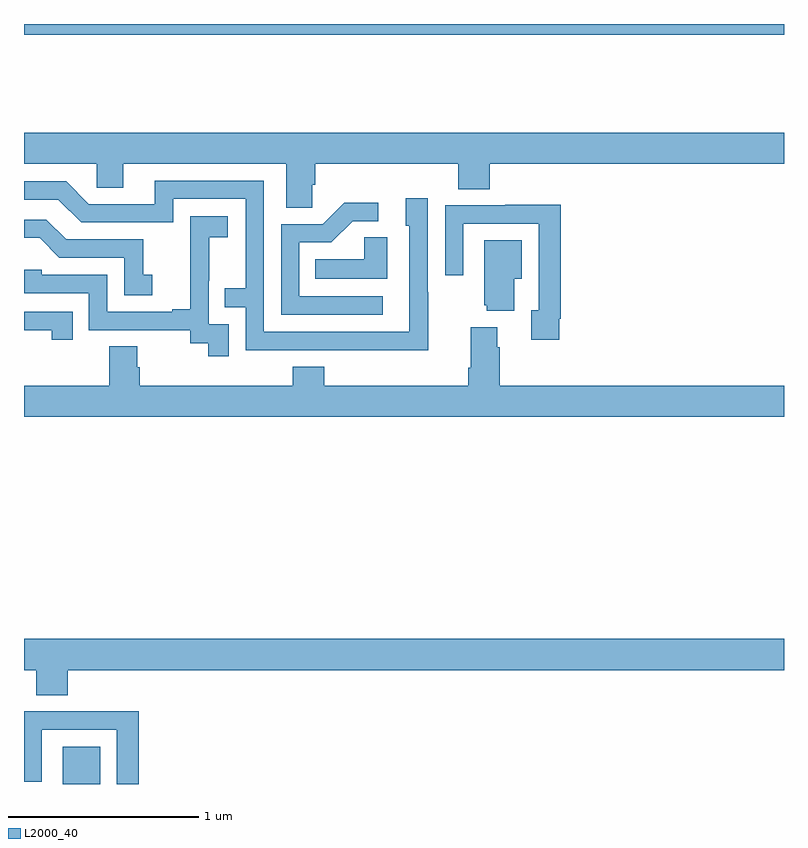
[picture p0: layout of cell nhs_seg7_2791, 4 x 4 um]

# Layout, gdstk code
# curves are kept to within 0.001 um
import gdstk
lib = gdstk.Library(unit=1e-6, precision=1e-09)
def R(c, l, rs):  # rectangles x0, y0, x1, y1
    for r in rs: c.add(gdstk.rectangle(r[:2], r[2:], *l))
def P(c, l, *ps):  # polygons
    for p in ps: c.add(gdstk.Polygon(p, *l))
L2000_40 = (2000, 40)

nhs_seg7_2791 = lib.new_cell('nhs_seg7_2791')
R(nhs_seg7_2791, L2000_40, [(291.203,1016,291.4,1016.197), (291,1019.944,295,1020)])
P(nhs_seg7_2791, L2000_40, [(292.518,1019.155),(292.532,1019.155),(292.532,1019.264),(293.285,1019.264),(293.285,1019.131),(293.45,1019.131),(293.45,1019.264),(295,1019.264),(295,1019.428),(291,1019.428),(291,1019.264),(291.384,1019.264),(291.384,1019.137),(291.523,1019.137),(291.523,1019.264),(292.379,1019.264),(292.379,1019.032),(292.518,1019.032)],
  [(293.127,1018.589),(293.124,1018.589),(293.124,1019.083),(293.009,1019.083),(293.009,1018.938),(293.028,1018.938),(293.028,1018.38),(292.263,1018.38),(292.263,1019.175),(291.689,1019.175),(291.689,1019.052),(291.342,1019.052),(291.222,1019.172),(291,1019.172),(291,1019.076),(291.18,1019.076),(291.3,1018.956),(291.786,1018.956),(291.786,1019.079),(292.167,1019.079),(292.167,1018.61),(292.057,1018.61),(292.057,1018.509),(292.167,1018.509),(292.167,1018.284),(293.127,1018.283)],
  [(292.888,1018.566),(292.449,1018.566),(292.449,1018.851),(292.618,1018.851),(292.729,1018.962),(292.864,1018.962),(292.864,1019.06),(292.685,1019.06),(292.572,1018.947),(292.353,1018.947),(292.353,1018.47),(292.888,1018.47)],
  [(293.818,1018.45),(293.825,1018.45),(293.825,1019.048),(293.533,1019.048),(293.533,1019.046),(293.217,1019.046),(293.217,1018.677),(293.313,1018.677),(293.313,1018.95),(293.709,1018.95),(293.709,1018.494),(293.669,1018.494),(293.669,1018.338),(293.818,1018.338)],
  [(292.077,1018.419),(291.972,1018.419),(291.972,1018.649),(291.974,1018.649),(291.974,1018.877),(292.072,1018.877),(292.072,1018.987),(291.874,1018.987),(291.874,1018.781),(291.875,1018.781),(291.875,1018.498),(291.779,1018.498),(291.779,1018.485),(291.438,1018.485),(291.438,1018.68),(291.093,1018.68),(291.093,1018.707),(291,1018.707),(291,1018.584),(291.342,1018.584),(291.342,1018.389),(291.876,1018.389),(291.876,1018.321),(291.969,1018.321),(291.969,1018.251),(292.077,1018.251)],
  [(291.676,1018.681),(291.627,1018.681),(291.627,1018.866),(291.223,1018.866),(291.118,1018.971),(291,1018.971),(291,1018.874),(291.082,1018.874),(291.186,1018.77),(291.528,1018.77),(291.528,1018.572),(291.676,1018.572)],
  [(292.912,1018.877),(292.791,1018.877),(292.791,1018.762),(292.534,1018.762),(292.534,1018.658),(292.912,1018.658)],
  [(293.581,1018.658),(293.62,1018.658),(293.62,1018.861),(293.423,1018.861),(293.423,1018.521),(293.435,1018.521),(293.435,1018.49),(293.581,1018.49)],
  [(291.257,1018.485),(291,1018.485),(291,1018.389),(291.146,1018.389),(291.146,1018.338),(291.257,1018.338)],
  [(295,1018.096),(293.504,1018.096),(293.504,1018.298),(293.491,1018.298),(293.491,1018.405),(293.351,1018.405),(293.351,1018.192),(293.339,1018.192),(293.339,1018.096),(292.58,1018.096),(292.58,1018.195),(292.415,1018.195),(292.415,1018.096),(291.608,1018.096),(291.608,1018.194),(291.595,1018.194),(291.595,1018.304),(291.448,1018.304),(291.448,1018.096),(291,1018.096),(291,1017.932),(295,1017.932)],
  [(291.23,1016.6),(295,1016.6),(295,1016.764),(291,1016.764),(291,1016.6),(291.065,1016.6),(291.065,1016.467),(291.23,1016.467)],
  [(291.605,1016.384),(291.313,1016.384),(291.313,1016.382),(291,1016.382),(291,1016.013),(291.093,1016.013),(291.093,1016.286),(291.489,1016.286),(291.489,1016),(291.605,1016)])

lib.write_gds('nhs_seg7_2791.gds')
